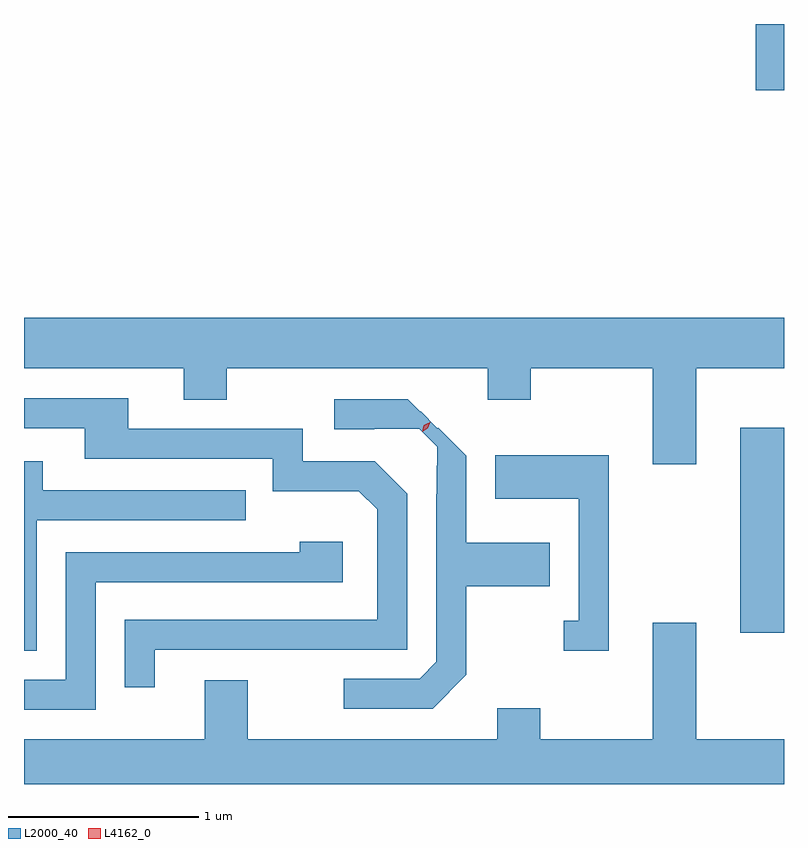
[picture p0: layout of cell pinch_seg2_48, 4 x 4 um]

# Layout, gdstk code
import gdstk
lib = gdstk.Library(unit=1e-6, precision=1e-09)
def R(c, l, rs):  # rectangles x0, y0, x1, y1
    for r in rs: c.add(gdstk.rectangle(r[:2], r[2:], *l))
def P(c, l, *ps):  # polygons
    for p in ps: c.add(gdstk.Polygon(p, *l))
L2000_40 = (2000, 40)
L4162_0 = (4162, 0)

pinch_seg2_48 = lib.new_cell('pinch_seg2_48')
R(pinch_seg2_48, L2000_40, [(1220.531,1111.306,1220.761,1112.384), (1220.611,1114.161,1220.761,1114.509)])
P(pinch_seg2_48, L2000_40, [(1220.299,1112.696),(1220.761,1112.696),(1220.761,1112.964),(1216.761,1112.964),(1216.761,1112.696),(1217.601,1112.696),(1217.601,1112.531),(1217.829,1112.531),(1217.829,1112.696),(1219.201,1112.696),(1219.201,1112.531),(1219.429,1112.531),(1219.429,1112.696),(1220.071,1112.696),(1220.071,1112.191),(1220.299,1112.191)],
  [(1217.449,1111.216),(1218.779,1111.216),(1218.779,1112.037),(1218.607,1112.209),(1218.229,1112.209),(1218.229,1112.379),(1217.309,1112.379),(1217.309,1112.539),(1216.761,1112.539),(1216.761,1112.381),(1217.081,1112.381),(1217.081,1112.221),(1218.071,1112.221),(1218.071,1112.051),(1218.524,1112.051),(1218.621,1111.954),(1218.621,1111.374),(1217.291,1111.374),(1217.291,1111.018),(1217.449,1111.018)],
  [(1219.089,1111.084),(1219.089,1111.551),(1219.529,1111.551),(1219.529,1111.779),(1219.089,1111.779),(1219.089,1112.236),(1218.94,1112.385),(1218.937,1112.382),(1218.848,1112.471),(1218.846,1112.468),(1218.78,1112.534),(1218.393,1112.534),(1218.393,1112.376),(1218.605,1112.376),(1218.605,1112.378),(1218.74,1112.378),(1218.74,1112.38),(1218.84,1112.38),(1218.935,1112.285),(1218.935,1112.185),(1218.933,1112.185),(1218.933,1112.035),(1218.931,1112.035),(1218.931,1111.152),(1218.844,1111.064),(1218.443,1111.064),(1218.443,1110.906),(1218.912,1110.906)],
  [(1219.839,1112.239),(1219.241,1112.239),(1219.241,1112.011),(1219.681,1112.011),(1219.681,1111.369),(1219.603,1111.369),(1219.603,1111.211),(1219.839,1111.211)],
  [(1216.829,1111.896),(1217.928,1111.896),(1217.928,1112.054),(1216.859,1112.054),(1216.859,1112.209),(1216.761,1112.209),(1216.761,1111.211),(1216.829,1111.211)],
  [(1217.139,1111.571),(1218.439,1111.571),(1218.439,1111.784),(1218.211,1111.784),(1218.211,1111.729),(1216.981,1111.729),(1216.981,1111.059),(1216.761,1111.059),(1216.761,1110.901),(1217.139,1110.901)],
  [(1220.761,1110.744),(1220.299,1110.744),(1220.299,1111.359),(1220.071,1111.359),(1220.071,1110.744),(1219.479,1110.744),(1219.479,1110.909),(1219.251,1110.909),(1219.251,1110.744),(1217.939,1110.744),(1217.939,1111.054),(1217.711,1111.054),(1217.711,1110.744),(1216.761,1110.744),(1216.761,1110.509),(1220.761,1110.509)])
P(pinch_seg2_48, L4162_0, [(1218.856,1112.363),(1218.856,1112.364),(1218.869,1112.395),(1218.897,1112.414),(1218.898,1112.414),(1218.898,1112.413),(1218.885,1112.382),(1218.857,1112.363)],
  [(1218.859,1112.374),(1218.859,1112.375),(1218.865,1112.398),(1218.886,1112.409),(1218.887,1112.409),(1218.887,1112.408),(1218.881,1112.385),(1218.86,1112.374)])

lib.write_gds('pinch_seg2_48.gds')
